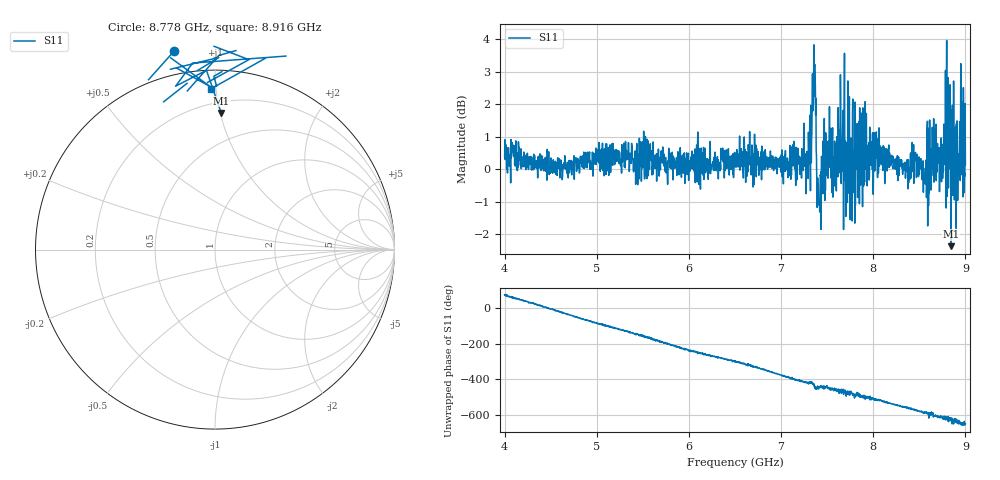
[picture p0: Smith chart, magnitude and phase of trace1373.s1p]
! Created with skrf 1.8.0 (http://scikit-rf.org).
# Hz S RI R 50.0
!freq ReS11 ImS11
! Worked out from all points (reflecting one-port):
!   1601 points, 4 GHz to 9 GHz, reference 50 ohm
!   lowest |S11| = -2.4 dB at 8.844 GHz (marker M1), VSWR 7.38, Z = 13.9 + j50.4 ohm
!   phase of S11 starts at 77 deg and turns -725 deg over the sweep
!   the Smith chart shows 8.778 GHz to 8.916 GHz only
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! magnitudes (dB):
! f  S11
! 4 GHz  0.4
! 4.625 GHz  -0.3
! 5.25 GHz  0.3
! 5.875 GHz  -0.1
! 6.5 GHz  0.3
! 7.125 GHz  0.1
! 7.294 GHz  -0.3
! 7.356 GHz  3.8
! 7.409 GHz  -1.0
! 7.509 GHz  -0.3
! 7.575 GHz  0.4
! 7.666 GHz  1.0
! 7.678 GHz  -1.9
! 7.75 GHz  -1.6
! 7.775 GHz  1.7
! 7.847 GHz  0.7
! 7.881 GHz  0.3
! 8.038 GHz  0.4
! 8.375 GHz  0.0
! 8.441 GHz  -0.4
! 8.556 GHz  -0.2
! 8.656 GHz  1.6
! 8.738 GHz  1.0
! 8.797 GHz  4.0
! 8.844 GHz  -2.4
! 8.919 GHz  -0.2
! 8.959 GHz  2.1
! 9 GHz  0.1
